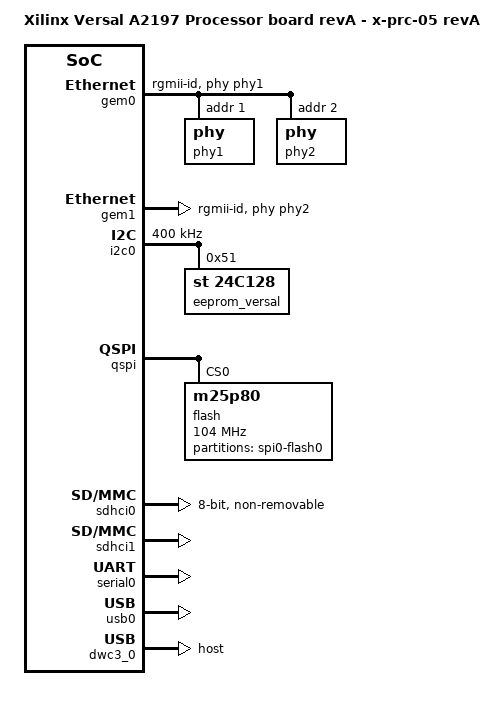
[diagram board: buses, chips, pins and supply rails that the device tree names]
// SPDX-License-Identifier: GPL-2.0
/*
 * dts file for Xilinx Versal X-PRC-05 revA (SE5)
 *
 * (C) Copyright 2019, Xilinx, Inc.
 *
 * Michal Simek <michal.simek@xilinx.com>
 */

#include "versal-vc-p-a2197-00-revA.dts"
#include <dt-bindings/net/mscc-phy-vsc8531.h>

/ {
	compatible = "xlnx,versal-vc-p-a2197-00-revA-x-prc-05-revA",
		     "xlnx,versal-vc-p-a2197-00-revA",
		     "xlnx,versal-vc-p-a2197-00",
		     "xlnx,versal-vc-p-a2197", "xlnx,versal";
	model = "Xilinx Versal A2197 Processor board revA - x-prc-05 revA";

	chosen {
		bootargs = "console=ttyAMA0 earlycon=pl011,mmio32,0xFF000000,115200n8 clk_ignore_unused";
		stdout-path = "serial0:115200";
	};

	aliases {
		serial0 = &serial0;
		ethernet0 = &gem0;
		ethernet1 = &gem1;
		i2c0 = &i2c0;
		mmc0 = &sdhci0;
		mmc1 = &sdhci1;
		spi0 = &qspi;
		usb0 = &usb0;
	};
};

&gem0 {
	status = "okay";
	phy-handle = <&phy1>;
	phy-mode = "rgmii-id";
	phy1: phy@1 { /* 88e1510 */
		reg = <1>;
	};
	phy2: phy@2 { /* VSC8531 */
		reg = <2>;
		vsc8531,rx-delay = <VSC8531_RGMII_CLK_DELAY_2_6_NS>;
		vsc8531,tx-delay = <VSC8531_RGMII_CLK_DELAY_2_6_NS>;
	};
};

&gem1 {
	status = "okay";
	phy-handle = <&phy2>;
	phy-mode = "rgmii-id";
};

&gpio0 {
	status = "okay";
};

&gpio1 {
	status = "okay";
};

&i2c0 {
	status = "okay";
	clock-frequency = <400000>;
	eeprom_versal: eeprom@51 {
		compatible = "st,24c128", "atmel,24c128";
		reg = <0x51>;
	};
};

&qspi {
	status = "okay";
	num-cs = <0x1>;
	spi-tx-bus-width = <1>;
	spi-rx-bus-width = <4>;

	flash@0 { /* MX25U12835 128Mbit */
		#address-cells = <1>;
		#size-cells = <1>;
		compatible = "m25p80", "jedec,spi-nor"; /* 16MB */
		reg = <0>;
		spi-tx-bus-width = <1>;
		spi-rx-bus-width = <4>;
		spi-max-frequency = <104000000>;
		partition@0 {
			label = "spi0-flash0";
			reg = <0x0 0x1000000>;
		};
	};
};

&sdhci0 { /* emmc0 */
	status = "okay";
	non-removable;
	disable-wp;
	bus-width = <8>;
	xlnx,mio_bank = <0>; /* FIXME */
};

&sdhci1 { /* connector */
	status = "okay";
	xlnx,mio_bank = <1>; /* FIXME */
};

&serial0 {
	status = "okay";
};

&usb0 {
	status = "okay";
	xlnx,usb-polarity = <0>;
	xlnx,usb-reset-mode = <0>;
};

&dwc3_0 { /* USB 2.0 host */
	status = "okay";
	dr_mode = "host";
	maximum-speed = "high-speed";
	snps,dis_u2_susphy_quirk;
	snps,dis_u3_susphy_quirk;
	snps,usb3_lpm_capable;
	phy-names = "usb3-phy";
};
